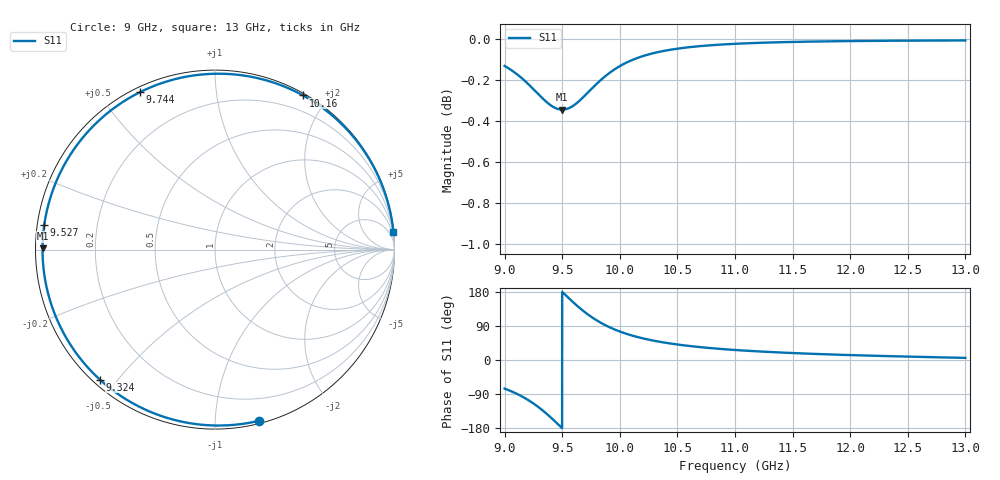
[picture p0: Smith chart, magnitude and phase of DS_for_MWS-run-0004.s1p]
! TOUCHSTONE file generated by CST DESIGN STUDIO
! Date and time: Tue Feb  4 17:46:15 2025
! Project name: C:\Work\MatlabApps\UnitCellOptimizationMatlab\CST\unitcell.cst
! Tree item: Tasks\Sweep1\SPara1\S-Parameters
! Header version: 2024
! Port assignment regex: !\s*Touchstone port\s*([0-9]+)\s*=\s*(CST MWS port|CST DES external port|CST DES block port)\s*(.+)\s* \(\"(.*)\"\)(\s*mode\s*([0-9]+))?.*
! Touchstone port assignment:
! Touchstone port 1 = CST DES external port 1 ("")
# GHz S MA R 50
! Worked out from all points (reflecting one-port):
!   4001 points, 9 GHz to 13 GHz, reference 50 ohm
!   lowest |S11| = -0.3 dB at 9.501 GHz (marker M1), VSWR 50.28, Z = 0.995 + j0.191 ohm
!   phase of S11 starts at -76 deg and turns -279 deg over the sweep
!   S11 on the Smith chart (normalised r, x): 9 GHz: 0.02, -1.29; 9.324 GHz: 0.02, -0.45; 9.527 GHz: 0.02, +0.07; 9.744 GHz: 0.02, +0.63; 10.16 GHz: 0.02, +1.72; 13 GHz: 0, +20
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9  0.9848 -75.5
9.085  0.9813 -86.2
9.187  0.9759 -102.4
9.258  0.9716 -116.4
9.324  0.9674 -131.5
9.371  0.9648 -143.5
9.42  0.9625 -156.9
9.461  0.9614 -168.7
9.5  0.961 179.9
9.501  0.961 179.6
9.527  0.9612 171.9
9.58  0.9625 156.7
9.64  0.9652 140.3
9.691  0.9682 127.6
9.744  0.9716 115.6
9.796  0.9748 105.2
9.854  0.9781 95.1
9.926  0.9817 84.4
10  0.9847 75.2
10.158  0.9893 60.3
10.313  0.9922 49.9
10.5  0.9944 40.9
10.722  0.9959 33.2
11  0.9971 26.4
11.5  0.9981 18.3
12  0.9986 13.0
12.5  0.9988 8.9
13  0.9989 5.6
